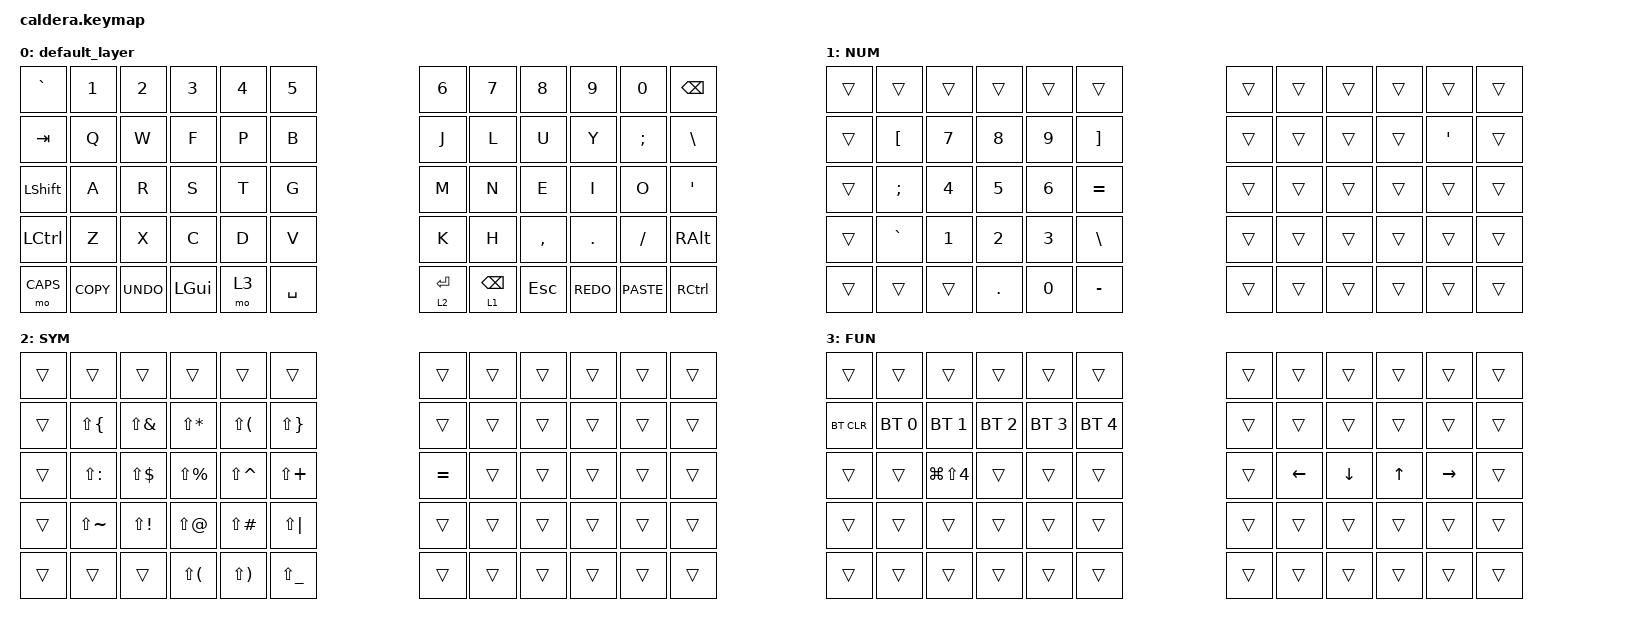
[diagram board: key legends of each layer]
#include <behaviors.dtsi>
#include <dt-bindings/zmk/keys.h>
#include <dt-bindings/zmk/bt.h>

&mt { tapping-term-ms = <800>; };
/ {
        keymap {
                compatible = "zmk,keymap";

                default_layer {
// ---------------------------------------------------------------------------------
// |   `  |  1  |  2  |  3  |  4  |  5  |     |  6  |  7  |  8  |  9  |  0  | BKSP |
// |  TAB |  Q  |  W  |  E  |  R  |  T  |     |  Y  |  U  |  I  |  O  |  P  |  \   |
// | ESC  |  A  |  S  |  D  |  F  |  G  |     |  H  |  J  |  K  |  L  |  ;  |  ENT |
// | SHFT |  Z  |  X  |  C  |  V  |  B  |     |  N  |  M  |  ,  |  .  |  /  | APOS |
// | LOW | CTRL | GUI | ALT | GUI | SPC |     | SPC | LOW |LARW |DARW |UARW | RARW |
                        bindings = <
   &kp GRAVE  &kp N1    &kp N2    &kp N3     &kp N4     &kp N5                               &kp N6     &kp N7  &kp N8     &kp N9    &kp N0    &kp BSPC
   &kp TAB    &kp Q     &kp W     &kp F      &kp P      &kp B                                &kp J      &kp L   &kp U      &kp Y     &kp SEMI  &kp BSLH
   &kp LSHFT   &kp A     &kp R     &kp S      &kp T      &kp G                                &kp M      &kp N   &kp E      &kp I     &kp O  &kp SQT
   &kp LCTRL  &kp Z     &kp X     &kp C      &kp D      &kp V                                &kp K      &kp H   &kp COMMA  &kp DOT   &kp FSLH  &kp RIGHT_ALT
   &mo CAPS  &kp K_COPY  &kp K_UNDO &kp LGUI  &mo 3 &kp SPACE                               &lt 2 ENTER &lt 1 BSPC  &kp ESC   &kp K_REDO  &kp K_PASTE  &kp RCTRL
                        >;
        };

        Num {
            display-name = "NUM";
            bindings = <
&trans  &trans     &trans  &trans   &trans  &trans       &trans  &trans  &trans  &trans  &trans   &trans
&trans  &kp LBKT   &kp N7  &kp N8   &kp N9  &kp RBKT     &trans  &trans  &trans  &trans  &kp SQT  &trans
&trans  &kp SEMI   &kp N4  &kp N5   &kp N6  &kp EQUAL    &trans  &trans  &trans  &trans  &trans   &trans
&trans  &kp GRAVE  &kp N1  &kp N2   &kp N3  &kp BSLH     &trans  &trans  &trans  &trans  &trans   &trans
&trans  &trans     &trans  &kp DOT  &kp N0  &kp MINUS    &trans  &trans  &trans  &trans  &trans   &trans
            >;
        };

        Sym {
            display-name = "SYM";
            bindings = <
&trans  &trans         &trans        &trans         &trans         &trans           &trans     &trans  &trans  &trans  &trans  &trans
&trans  &kp LS(LBRC)   &kp LS(AMPS)  &kp LS(STAR)   &kp LS(LPAR)   &kp LS(RBRC)     &trans     &trans  &trans  &trans  &trans  &trans
&trans  &kp LS(COLON)  &kp LS(DLLR)  &kp LS(PRCNT)  &kp LS(CARET)  &kp LS(PLUS)     &kp EQUAL  &trans  &trans  &trans  &trans  &trans
&trans  &kp LS(TILDE)  &kp LS(EXCL)  &kp LS(AT)     &kp LS(POUND)  &kp LS(PIPE)     &trans     &trans  &trans  &trans  &trans  &trans
&trans  &trans         &trans        &kp LS(LPAR)   &kp LS(RPAR)   &kp LS(UNDER)    &trans     &trans  &trans  &trans  &trans  &trans
            >;
        };

        Fun {
            display-name = "FUN";
            bindings = <
&trans      &trans        &trans                &trans        &trans        &trans          &trans  &trans          &trans          &trans  &trans     &trans
&bt BT_CLR  &bt BT_SEL 0  &bt BT_SEL 1          &bt BT_SEL 2  &bt BT_SEL 3  &bt BT_SEL 4    &trans  &trans          &trans          &trans  &trans     &trans
&trans      &trans        &kp LG(LS(NUMBER_4))  &trans        &trans        &trans          &trans  &kp LEFT_ARROW  &kp DOWN_ARROW  &kp UP  &kp RIGHT  &trans
&trans      &trans        &trans                &trans        &trans        &trans          &trans  &trans          &trans          &trans  &trans     &trans
&trans      &trans        &trans                &trans        &trans        &trans          &trans  &trans          &trans          &trans  &trans     &trans
            >;
        };
    };    
};
